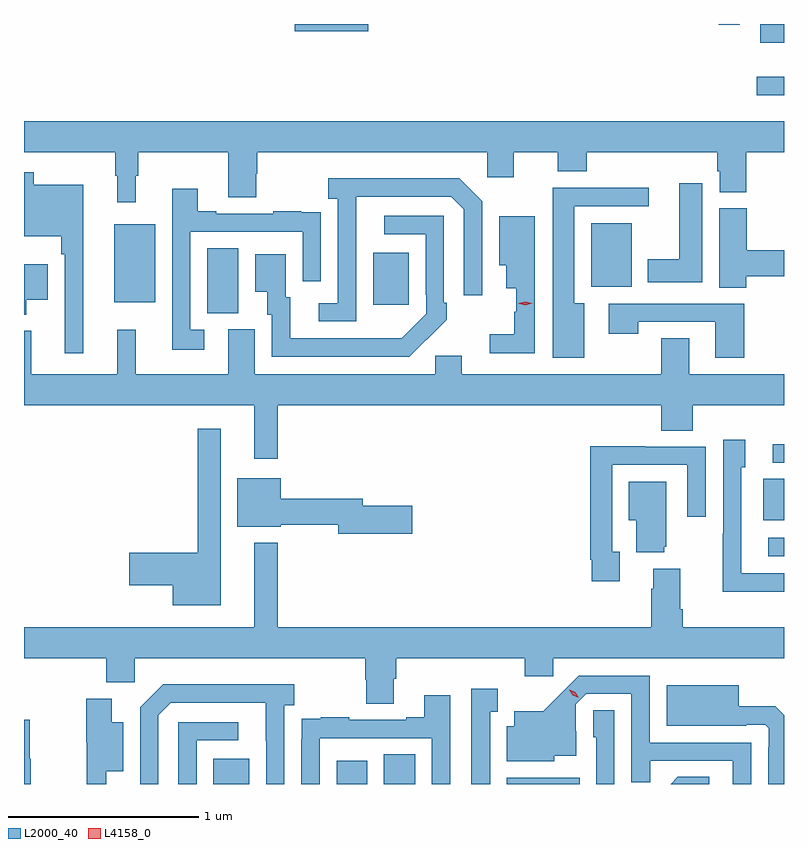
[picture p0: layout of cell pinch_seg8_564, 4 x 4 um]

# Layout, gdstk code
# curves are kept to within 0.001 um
import gdstk
lib = gdstk.Library(unit=1e-6, precision=1e-09)
def R(c, l, rs):  # rectangles x0, y0, x1, y1
    for r in rs: c.add(gdstk.rectangle(r[:2], r[2:], *l))
def P(c, l, *ps):  # polygons
    for p in ps: c.add(gdstk.Polygon(p, *l))
L2000_40 = (2000, 40)
L4158_0 = (4158, 0)

pinch_seg8_564 = lib.new_cell('pinch_seg8_564')
R(pinch_seg8_564, L2000_40, [(170.903,1094.527,171.091,1094.659), (171.551,1094.527,171.712,1094.65), (171.8,1094.527,171.964,1094.684), (172.448,1094.527,172.832,1094.56), (173.823,1095.726,173.906,1095.822), (173.798,1095.914,173.906,1096.133), (173.847,1096.218,173.906,1096.316), (170.87,1097.005,171.034,1097.348), (171.743,1097.049,171.931,1097.323), (170.381,1097.063,170.596,1097.473), (172.892,1097.144,173.104,1097.479), (173.763,1098.152,173.906,1098.249), (173.78,1098.428,173.906,1098.527), (171.33,1098.49,171.718,1098.527), (173.562,1098.524,173.673,1098.527)])
P(pinch_seg8_564, L2000_40, [(170.495,1097.729),(170.506,1097.729),(170.506,1097.852),(170.981,1097.852),(170.981,1097.614),(171.129,1097.614),(171.129,1097.739),(171.134,1097.739),(171.134,1097.852),(172.344,1097.852),(172.344,1097.721),(172.483,1097.721),(172.483,1097.852),(172.715,1097.852),(172.715,1097.753),(172.868,1097.753),(172.868,1097.852),(173.555,1097.852),(173.555,1097.751),(173.567,1097.751),(173.567,1097.641),(173.708,1097.641),(173.708,1097.852),(173.906,1097.852),(173.906,1098.016),(169.906,1098.016),(169.906,1097.852),(170.385,1097.852),(170.385,1097.729),(170.396,1097.729),(170.396,1097.589),(170.495,1097.589)],
  [(170.218,1097.68),(169.957,1097.68),(169.957,1097.746),(169.906,1097.746),(169.906,1097.411),(170.101,1097.411),(170.101,1097.315),(170.121,1097.315),(170.121,1096.794),(170.218,1096.794)],
  [(171.654,1097.419),(171.655,1097.619),(172.155,1097.619),(172.221,1097.553),(172.221,1097.1),(172.317,1097.1),(172.317,1097.595),(172.196,1097.716),(171.507,1097.716),(171.507,1097.606),(171.558,1097.606),(171.558,1097.058),(171.456,1097.058),(171.456,1096.962),(171.654,1096.962)],
  [(173.476,1097.689),(173.354,1097.689),(173.354,1097.29),(173.189,1097.29),(173.189,1097.168),(173.476,1097.168)],
  [(172.855,1097.056),(172.801,1097.056),(172.801,1097.568),(173.194,1097.568),(173.194,1097.666),(172.688,1097.666),(172.688,1096.77),(172.855,1096.77)],
  [(170.854,1096.917),(170.781,1096.917),(170.781,1097.433),(171.372,1097.433),(171.372,1097.172),(171.468,1097.172),(171.468,1097.426),(171.467,1097.426),(171.467,1097.535),(171.365,1097.535),(171.365,1097.542),(171.217,1097.542),(171.217,1097.529),(170.917,1097.529),(170.917,1097.542),(170.821,1097.542),(170.821,1097.659),(170.685,1097.659),(170.685,1096.812),(170.854,1096.812)],
  [(173.706,1097.2),(173.906,1097.2),(173.906,1097.336),(173.711,1097.336),(173.711,1097.556),(173.564,1097.556),(173.564,1097.14),(173.706,1097.14)],
  [(172.025,1096.867),(172.026,1096.866),(172.131,1096.971),(172.131,1097.059),(172.116,1097.059),(172.116,1097.517),(171.801,1097.517),(171.801,1097.421),(172.02,1097.421),(172.02,1097.101),(172.023,1097.101),(172.023,1097.001),(171.895,1096.873),(171.307,1096.872),(171.307,1097.088),(171.283,1097.088),(171.283,1097.314),(171.122,1097.314),(171.122,1097.117),(171.185,1097.117),(171.185,1096.998),(171.21,1096.998),(171.21,1096.776),(171.934,1096.776)],
  [(172.593,1097.262),(172.594,1097.262),(172.594,1097.515),(172.406,1097.515),(172.406,1097.258),(172.445,1097.258),(172.445,1097.135),(172.496,1097.135),(172.496,1097.013),(172.485,1097.013),(172.485,1096.893),(172.356,1096.893),(172.356,1096.794),(172.593,1096.794)],
  [(169.918,1097.075),(170.032,1097.075),(170.032,1097.263),(169.906,1097.263),(169.906,1096.997),(169.918,1096.997)],
  [(173.696,1097.055),(172.983,1097.055),(172.983,1096.896),(173.139,1096.896),(173.139,1096.959),(173.543,1096.959),(173.543,1096.77),(173.696,1096.77)],
  [(171.241,1096.52),(173.261,1096.52),(173.261,1096.387),(173.426,1096.387),(173.426,1096.52),(173.906,1096.52),(173.906,1096.684),(173.407,1096.684),(173.407,1096.874),(173.26,1096.874),(173.26,1096.684),(172.21,1096.684),(172.21,1096.782),(172.071,1096.782),(172.071,1096.684),(171.121,1096.684),(171.121,1096.92),(170.981,1096.92),(170.981,1096.684),(170.495,1096.684),(170.495,1096.918),(170.396,1096.918),(170.396,1096.684),(169.943,1096.684),(169.943,1096.912),(169.906,1096.912),(169.906,1096.52),(171.119,1096.52),(171.119,1096.239),(171.241,1096.239)],
  [(170.941,1096.396),(170.82,1096.396),(170.82,1095.743),(170.46,1095.743),(170.46,1095.572),(170.69,1095.572),(170.69,1095.467),(170.941,1095.467)],
  [(173.906,1095.636),(173.682,1095.636),(173.682,1096.194),(173.701,1096.194),(173.701,1096.339),(173.586,1096.339),(173.586,1095.845),(173.584,1095.845),(173.584,1095.539),(173.906,1095.539)],
  [(173.041,1095.75),(173.001,1095.75),(173.001,1096.206),(173.397,1096.206),(173.397,1095.933),(173.493,1095.933),(173.493,1096.302),(173.177,1096.302),(173.177,1096.304),(172.885,1096.304),(172.885,1095.706),(172.893,1095.706),(172.893,1095.594),(173.041,1095.594)],
  [(171.949,1095.992),(171.688,1095.992),(171.688,1096.028),(171.256,1096.028),(171.256,1096.135),(171.029,1096.135),(171.029,1095.881),(171.256,1095.881),(171.256,1095.892),(171.56,1095.892),(171.56,1095.845),(171.949,1095.845)],
  [(173.276,1095.777),(173.287,1095.777),(173.287,1096.117),(173.09,1096.117),(173.09,1095.914),(173.129,1095.914),(173.129,1095.746),(173.276,1095.746)],
  [(171.853,1095.082),(171.866,1095.082),(171.866,1095.188),(172.541,1095.188),(172.541,1095.093),(172.692,1095.093),(172.692,1095.188),(173.906,1095.188),(173.906,1095.352),(173.372,1095.352),(173.372,1095.448),(173.359,1095.448),(173.359,1095.661),(173.219,1095.661),(173.219,1095.554),(173.207,1095.554),(173.207,1095.352),(171.241,1095.352),(171.241,1095.796),(171.119,1095.796),(171.119,1095.352),(169.906,1095.352),(169.906,1095.188),(170.339,1095.188),(170.339,1095.062),(170.49,1095.062),(170.49,1095.188),(171.701,1095.188),(171.701,1095.075),(171.706,1095.075),(171.706,1094.95),(171.853,1094.95)],
  [(173.733,1094.745),(173.199,1094.745),(173.199,1095.096),(172.826,1095.096),(172.639,1094.911),(172.487,1094.911),(172.487,1094.832),(172.448,1094.832),(172.448,1094.648),(172.698,1094.648),(172.698,1094.675),(172.813,1094.675),(172.813,1094.804),(172.809,1094.804),(172.809,1094.946),(172.866,1095.003),(173.103,1095.003),(173.103,1094.536),(173.201,1094.536),(173.201,1094.649),(173.637,1094.649),(173.637,1094.527),(173.733,1094.527)],
  [(170.613,1094.889),(170.679,1094.955),(171.179,1094.955),(171.18,1094.527),(171.276,1094.527),(171.276,1094.942),(171.328,1094.942),(171.328,1095.052),(170.638,1095.052),(170.517,1094.931),(170.517,1094.527),(170.613,1094.527)],
  [(173.906,1094.889),(173.86,1094.935),(173.668,1094.935),(173.668,1095.046),(173.288,1095.046),(173.288,1094.834),(173.708,1094.834),(173.708,1094.838),(173.808,1094.838),(173.826,1094.82),(173.826,1094.72),(173.823,1094.72),(173.823,1094.527),(173.906,1094.527)],
  [(172.36,1094.907),(172.399,1094.907),(172.399,1095.028),(172.259,1095.028),(172.259,1094.527),(172.36,1094.527)],
  [(171.462,1094.769),(172.053,1094.769),(172.053,1094.527),(172.149,1094.527),(172.149,1094.995),(172.013,1094.995),(172.013,1094.878),(171.917,1094.878),(171.917,1094.865),(171.617,1094.865),(171.617,1094.878),(171.469,1094.878),(171.469,1094.871),(171.367,1094.871),(171.367,1094.762),(171.366,1094.762),(171.366,1094.527),(171.462,1094.527)],
  [(170.339,1094.594),(170.428,1094.594),(170.428,1094.851),(170.368,1094.851),(170.368,1094.977),(170.233,1094.977),(170.233,1094.747),(170.236,1094.747),(170.236,1094.527),(170.339,1094.527)],
  [(173.013,1094.915),(172.902,1094.915),(172.902,1094.772),(172.917,1094.772),(172.917,1094.527),(173.013,1094.527)],
  [(169.942,1094.661),(169.935,1094.661),(169.935,1094.866),(169.906,1094.866),(169.906,1094.527),(169.942,1094.527)],
  [(170.814,1094.757),(171.034,1094.757),(171.034,1094.853),(170.718,1094.853),(170.718,1094.527),(170.814,1094.527)],
  [(173.512,1094.564),(173.347,1094.564),(173.31,1094.527),(173.512,1094.527)])
P(pinch_seg8_564, L4158_0, [(172.826,1094.98),(172.795,1094.994),(172.777,1095.024),(172.777,1095.024),(172.778,1095.024),(172.808,1095.009),(172.826,1094.98),(172.826,1094.98)],
  [(172.546,1097.046),(172.51,1097.055),(172.51,1097.056),(172.51,1097.056),(172.545,1097.066),(172.581,1097.058),(172.581,1097.058),(172.581,1097.057)])

lib.write_gds('pinch_seg8_564.gds')
